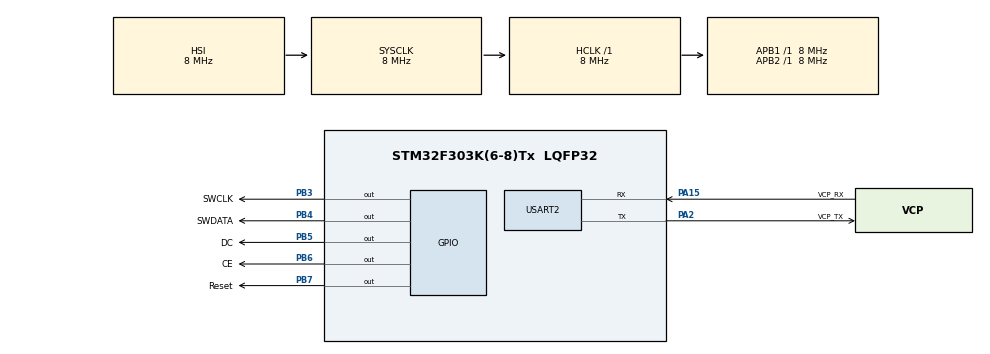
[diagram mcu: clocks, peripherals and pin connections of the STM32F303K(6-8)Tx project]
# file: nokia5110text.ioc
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Mcu.Family=STM32F3
Mcu.Name=STM32F303K(6-8)Tx
Mcu.Package=LQFP32
NVIC.PriorityGroup=NVIC_PRIORITYGROUP_4
PA13.GPIO_Label=SWDIO
PA13.Mode=Serial_Wire
PA13.Signal=SYS_JTMS-SWDIO
PA14.GPIO_Label=SWCLK
PA14.Mode=Serial_Wire
PA14.Signal=SYS_JTCK-SWCLK
PA15.GPIO_Label=VCP_RX
PA15.Mode=Asynchronous
PA15.Signal=USART2_RX
PA2.GPIO_Label=VCP_TX
PA2.Mode=Asynchronous
PA2.Signal=USART2_TX
PB3.GPIO_Label=SWCLK
PB3.Signal=GPIO_Output
PB4.GPIO_Label=SWDATA
PB4.Signal=GPIO_Output
PB5.GPIO_Label=DC
PB5.Signal=GPIO_Output
PB6.GPIO_Label=CE
PB6.Signal=GPIO_Output
PB7.GPIO_Label=Reset
PB7.Signal=GPIO_Output
PF0\ /\ OSC_IN.GPIO_Label=MCO
PF0\ /\ OSC_IN.Mode=HSE-External-Clock-Source
PF0\ /\ OSC_IN.Signal=RCC_OSC_IN
ProjectManager.HeapSize=0x200
ProjectManager.StackSize=0x400
ProjectManager.TargetToolchain=STM32CubeIDE
RCC.AHBFreq_Value=8000000
RCC.APB1Freq_Value=8000000
RCC.APB2Freq_Value=8000000
RCC.CortexFreq_Value=8000000
RCC.HSE_VALUE=8000000
RCC.HSI_VALUE=8000000
RCC.SYSCLKFreq_VALUE=8000000
USART2.VirtualMode-Asynchronous=VM_ASYNC
board=NUCLEO-F303K8

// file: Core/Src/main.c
/* USER CODE BEGIN Header */
/**
  ******************************************************************************
  * @file           : main.c
  * @brief          : Main program body
  ******************************************************************************
  * @attention
  *
  * <h2><center>&copy; Copyright (c) 2021 STMicroelectronics.
  * All rights reserved.</center></h2>
  *
  * This software component is licensed by ST under BSD 3-Clause license,
  * the "License"; You may not use this file except in compliance with the
  * License. You may obtain a copy of the License at:
  *                        opensource.org/licenses/BSD-3-Clause
  *
  ******************************************************************************
  */
/* USER CODE END Header */
#include "main.h"

/* USER CODE BEGIN Includes */
#include "NOKIA5110_TEXT.h"

/* USER CODE END Includes */

UART_HandleTypeDef huart2;

void SystemClock_Config(void);
static void MX_GPIO_Init(void);
static void MX_USART2_UART_Init(void);
/* USER CODE BEGIN PFP */
void NokiaSetup(void);
void TestPrint(void);
void TestGeneral(void); // General tests, default font , clear and fill , draw, custom char
void TestFont1to6(void); // For testing fonts 1-6  Comment in  defines at top of  NOKIA5110_TEXT.h if using non default
void TestFont7to9(void); // for testing fonts 7-9
void TestBitmap(void); // bitmap test
/* USER CODE END PFP */

/* USER CODE BEGIN 0 */
#define myinverse  false
#define mycontrast 0xB1 // default is 0xBF set in LCDinit, Try 0xB1 to 0xBF if your display is too dark
#define mybias 0x13 // LCD bias mode 1:48: Try 0x12 or 0x13 or 0x14

#define TEST_DELAY 2000

/* USER CODE END 0 */

int main(void)
{

  /* MCU Configuration--------------------------------------------------------*/

  /* Reset of all peripherals, Initializes the Flash interface and the Systick. */
  HAL_Init();

  /* Configure the system clock */
  SystemClock_Config();

  /* Initialize all configured peripherals */
  MX_GPIO_Init();
  MX_USART2_UART_Init();
  /* USER CODE BEGIN 2 */
  NokiaSetup();

  /* USER CODE END 2 */

  /* Infinite loop */
  /* USER CODE BEGIN WHILE */
  while (1)
  {
	  HAL_Delay(TEST_DELAY);

	  TestPrint();
	  TestGeneral();
	  TestFont1to6(); // Comment in to test , read notes in function header
      TestFont7to9(); //Comment in to test , read notes in function header
      TestBitmap(); //Comment in to test , read notes in function header

	  /* USER CODE END WHILE */

  }
}

void SystemClock_Config(void)
{
  RCC_OscInitTypeDef RCC_OscInitStruct = {0};
  RCC_ClkInitTypeDef RCC_ClkInitStruct = {0};

  /** Initializes the RCC Oscillators according to the specified parameters
  * in the RCC_OscInitTypeDef structure.
  */
  RCC_OscInitStruct.OscillatorType = RCC_OSCILLATORTYPE_HSI;
  RCC_OscInitStruct.HSIState = RCC_HSI_ON;
  RCC_OscInitStruct.HSICalibrationValue = RCC_HSICALIBRATION_DEFAULT;
  RCC_OscInitStruct.PLL.PLLState = RCC_PLL_NONE;
  if (HAL_RCC_OscConfig(&RCC_OscInitStruct) != HAL_OK)
  {
    Error_Handler();
  }
  /** Initializes the CPU, AHB and APB buses clocks
  */
  RCC_ClkInitStruct.ClockType = RCC_CLOCKTYPE_HCLK|RCC_CLOCKTYPE_SYSCLK
                              |RCC_CLOCKTYPE_PCLK1|RCC_CLOCKTYPE_PCLK2;
  RCC_ClkInitStruct.SYSCLKSource = RCC_SYSCLKSOURCE_HSI;
  RCC_ClkInitStruct.AHBCLKDivider = RCC_SYSCLK_DIV1;
  RCC_ClkInitStruct.APB1CLKDivider = RCC_HCLK_DIV1;
  RCC_ClkInitStruct.APB2CLKDivider = RCC_HCLK_DIV1;

  if (HAL_RCC_ClockConfig(&RCC_ClkInitStruct, FLASH_LATENCY_0) != HAL_OK)
  {
    Error_Handler();
  }
}

static void MX_USART2_UART_Init(void)
{

  huart2.Instance = USART2;
  huart2.Init.BaudRate = 38400;
  huart2.Init.WordLength = UART_WORDLENGTH_8B;
  huart2.Init.StopBits = UART_STOPBITS_1;
  huart2.Init.Parity = UART_PARITY_NONE;
  huart2.Init.Mode = UART_MODE_TX_RX;
  huart2.Init.HwFlowCtl = UART_HWCONTROL_NONE;
  huart2.Init.OverSampling = UART_OVERSAMPLING_16;
  huart2.Init.OneBitSampling = UART_ONE_BIT_SAMPLE_DISABLE;
  huart2.AdvancedInit.AdvFeatureInit = UART_ADVFEATURE_NO_INIT;
  if (HAL_UART_Init(&huart2) != HAL_OK)
  {
    Error_Handler();
  }

}

static void MX_GPIO_Init(void)
{
  GPIO_InitTypeDef GPIO_InitStruct = {0};

  /* GPIO Ports Clock Enable */
  __HAL_RCC_GPIOF_CLK_ENABLE();
  __HAL_RCC_GPIOA_CLK_ENABLE();
  __HAL_RCC_GPIOB_CLK_ENABLE();

  /*Configure GPIO pin Output Level */
  HAL_GPIO_WritePin(GPIOB, SWCLKB3_Pin|SWDATA_Pin|DC_Pin|CE_Pin
                          |Reset_Pin, GPIO_PIN_RESET);

  /*Configure GPIO pins : SWCLKB3_Pin SWDATA_Pin DC_Pin CE_Pin
                           Reset_Pin */
  GPIO_InitStruct.Pin = SWCLKB3_Pin|SWDATA_Pin|DC_Pin|CE_Pin
                          |Reset_Pin;
  GPIO_InitStruct.Mode = GPIO_MODE_OUTPUT_PP;
  GPIO_InitStruct.Pull = GPIO_NOPULL;
  GPIO_InitStruct.Speed = GPIO_SPEED_FREQ_LOW;
  HAL_GPIO_Init(GPIOB, &GPIO_InitStruct);

}

/* USER CODE BEGIN 4 */
void NokiaSetup(void)
{
	LCDInit(myinverse, mycontrast, mybias); // init the lCD
	LCDClear(0x00); // Clear screen
}

//****************************** Test Print function ****************************

void TestPrint(void)
{
	uint16_t myPosInt = 765;
	int16_t  myNegInt = -112;

	LCDgotoXY(0, 0);
    LCDPrintf("pos num %u",myPosInt );

	LCDgotoXY(0, 1);
    LCDPrintf("neg num %d",myNegInt);

    HAL_Delay(5000);
    LCDClear(0x00);
}

// **********************************  Text and  function tests *****************

void TestGeneral(void) {
    /* TESTS
     1. TEST 1a writing text to blocks
     2. TEST 1b clearing by  blocks
     3. TEST 1c sleep mode
     4. TEST 1d Draw some pixel
     5. TEST 1e Draw a horizontal line with SetPixel across screen at row 10
     6. TEST 1f Draw a vertical line in block 2 of one byte at column 3
     7. TEST 1g Fill Screen
     8. TEST 1h Fill block
     9. TEST 1i Custom Character
     */

    //Custom Characters for  TEST 1i Custom Character
    const unsigned char power[12] = {0xff, 0xe7, 0xc3, 0x99, 0xa5, 0xad, 0xad, 0xa5, 0x99, 0xc3, 0xe7, 0xff}; //power icon
    const unsigned char myspeed[12] = {0xff, 0xff, 0xf7, 0xb3, 0xd1, 0xc0, 0xe0, 0xf4, 0xf6, 0xfe, 0xff, 0xff}; //lighting symbol

    bool drawtext = true; //enable  TEST 1a
    bool clearline = true; //enable  TEST 1b
    bool sleepmodetest = true; // enable TEST 1c
    bool pixeltest = true; // enable TEST d e f

    //TEST 1a writing text to blocks
    if (drawtext == true) {
        HAL_Delay(TEST_DELAY);
        LCDgotoXY(0, 0); // (go to (X , Y) (0-84 columns, 0-5 blocks)
        LCDString("Block 0"); //print to block 0 (0-5 blocks or row bytes)
        HAL_Delay(TEST_DELAY);
        LCDgotoXY(2, 1);
        LCDString("Block 1"); //print to block 1 indented by two
        HAL_Delay(TEST_DELAY);
        LCDgotoXY(4, 2);
        LCDString("Block 2"); //print to block 2   indented by four
        HAL_Delay(TEST_DELAY);
        LCDgotoXY(6, 3);
        LCDString("Block 3"); //print to block 3  indented by six
        HAL_Delay(TEST_DELAY);
        LCDgotoXY(8, 4);
        LCDString("Block 4"); //print to block 4 indented by 8 col
        HAL_Delay(TEST_DELAY);
        LCDgotoXY(10, 5);
        LCDString("Block 5"); //print to block 5 indented by 10 col
        HAL_Delay(TEST_DELAY);
    }

    // TEST 1b clearing by  blocks
    if (clearline == true) {
        LCDClearBlock(0); //clear line/block 0
        HAL_Delay(TEST_DELAY);
        LCDClearBlock(5); //clear line/block 5
        HAL_Delay(TEST_DELAY);
    }

    //TEST 1c sleep mode
    if (sleepmodetest == true) {
        LCDClear(0x00);
        LCDgotoXY(0, 0);
        LCDString("Sleep 5s");
        HAL_Delay(1000);
        LCDenableSleep(); //go to sleep
        HAL_Delay(5000);
        LCDdisableSleep(); //wake up
        LCDgotoXY(0, 0);
        LCDString("Awake");
        HAL_Delay(TEST_DELAY);
    }

    // Test 1d Pixels
     if (pixeltest == true) {
        LCDClear(0x00);

        LCDgotoXY(0, 5); // (go to (X , Y) (0-84 columns, 0-5 blocks)
        LCDString("Draw Pixels");
        HAL_Delay(TEST_DELAY);

        for (uint8_t Pixels = 11; Pixels < 255; Pixels++) {
            LCDSetPixel(Pixels / 5, Pixels / 10);
            HAL_Delay(15);
        }

        // 1e Draw a horizontal line with SetPixel across screen at row 10
        LCDClear(0x00);
        LCDgotoXY(0, 0); // (go to (X , Y) (0-84 columns, 0-5 blocks)
        LCDString("Draw Lines"); //print to block 0 (0-5 blocks or row bytes)
        HAL_Delay(TEST_DELAY);

        for (uint8_t col = 3; col < 71; col++) {
            LCDSetPixel(col, 23);
            LCDSetPixel(col, 31);
        }
        HAL_Delay(TEST_DELAY);

        // 1f Draw a vertical line in block 2 of one byte at column 3
        LCDgotoXY(3, 3);
        LCDWrite(LCD_DATA, 0xFF);
        LCDgotoXY(70, 3);
        LCDWrite(LCD_DATA, 0xFF);
        HAL_Delay(TEST_DELAY);
    }
    // TEST 1g Fill whole with Screen with pattern
    LCDClear(0x00);
    LCDgotoXY(0, 0);
    LCDString("Fill Screen");
    HAL_Delay(TEST_DELAY);

    LCDClear(0xBA); //  pattern 0b10111010
    HAL_Delay(TEST_DELAY);

    // Test 1h fill block
    LCDClear(0X00);
    LCDgotoXY(0, 0);
    LCDString("Fill block");
    HAL_Delay(TEST_DELAY);
    LCDFillBlock(0xAB, 4); //  0b10101011
    HAL_Delay(TEST_DELAY);

    //Test 1i Custom characters
    LCDClear(0X00);
    LCDgotoXY(0, 0);
    LCDString("Custom char");
    LCDgotoXY(40, 2);
    LCDCustomChar(power, sizeof (power) / sizeof (unsigned char), LCDPadding_Both);
    LCDgotoXY(40, 4);
    LCDCustomChar(myspeed, sizeof (myspeed) / sizeof (unsigned char), LCDPadding_Both);
    HAL_Delay(5000);

    //whole screen clear again
    LCDClear(0x00);
    HAL_Delay(TEST_DELAY);
}

//****************************** TestFont1to6 ****************************
// fonts 1-6 tests,  NOTE fonts  must be  commented in header file

void TestFont1to6() {

    HAL_Delay(TEST_DELAY);
    LCDFont(LCDFont_Default); //font 1
    LCDgotoXY(0, 0); // (go to (X , Y) (0-84 columns, 0-5 blocks)
    LCDString("1234567890AB"); //print to block 0
    HAL_Delay(TEST_DELAY);
    LCDFont(LCDFont_Thick); // font 2
    LCDgotoXY(0, 1);
    LCDString("VOLTAGE 2"); //print to block 1
    HAL_Delay(TEST_DELAY);
    LCDFont(LCDFont_HomeSpun); //font 3
    LCDgotoXY(0, 2);
    LCDString("ABCDEFGH"); //print to block 2
    HAL_Delay(TEST_DELAY);
    LCDFont(LCDFont_Seven_Seg); //font 4
    LCDgotoXY(0, 3);
    LCDString("VOLTAGE 5.843"); //print to block 3
    HAL_Delay(TEST_DELAY);
    LCDFont(LCDFont_Wide); //font 5
    LCDgotoXY(0, 4);
    LCDString("VOLTAGE"); //print to block 4
    HAL_Delay(TEST_DELAY);
    LCDFont(LCDFont_Tiny); //font 6
    LCDgotoXY(0, 5); // (go to (X , Y) (0-84 columns, 0-5 blocks)
    LCDString("1234567890123456"); //print to block 5
    HAL_Delay(TEST_DELAY);
    LCDFont(LCDFont_Default);
    LCDClear(0x00);
}

//****************************** TestFont7to9 ****************************
// fonts 7-9 tests,  Note  fonts  must be  commented in header file

void TestFont7to9() {
    // ***** TEST 3a font 7 large 12 * 16 *********
    // :NO LOWER CASE LETTERS for  font 7
    LCDClear(0X00); //clear whole screen
    LCDFont(LCDFont_Large); //font 7
    LCDgotoXY(20, 1);
    LCDString("TIME");
    LCDgotoXY(15, 3); // this font takes two blocks
    LCDString("23:04");
    HAL_Delay(5000);

    // ***** TEST 3b font 8 huge 16 * 24 *********
    // NUMBERS  only + : . /
    LCDClear(0x00);
    LCDFont(LCDFont_Huge); // font 8 this font takes 3 blocks
    LCDgotoXY(0, 0);
    LCDString("10:39");
    LCDgotoXY(0, 3);
    LCDString("4.288");
    HAL_Delay(5000);

    // ********** TEST 3c font 9 MEGA font 16 * 32 *********
    //  NUMBERS  only + : . /
    LCDClear(0x00);
    LCDFont(LCDFont_Mega); // font 8 this font takes 4 blocks
    LCDgotoXY(0, 1);
    LCDString("14.23");
    HAL_Delay(5000);

}

//****************************** TestBitmap ****************************
// bitmap tests,  Note  fonts one  must be  commented in font header file

void TestBitmap() {
    // 'image1', 84x48px snake
    const unsigned char mybitmap[504] = {
        0x00, 0x00, 0x00, 0x00, 0x00, 0x00, 0x00, 0x00, 0x00, 0x80, 0xc0, 0xe0, 0xf0, 0xf8, 0xf8, 0x7c,
        0x7c, 0x20, 0x00, 0xe0, 0xe0, 0xf0, 0xf0, 0xf0, 0x80, 0x00, 0x00, 0xe0, 0xf8, 0xf8, 0xfc, 0x38,
        0x00, 0xe0, 0xf0, 0xf8, 0xf8, 0xf8, 0xf8, 0x80, 0x00, 0x10, 0x78, 0x7c, 0xfc, 0xfc, 0x00, 0x80,
        0xe0, 0xf0, 0xf8, 0xf8, 0xf0, 0xe4, 0x7c, 0x7e, 0xbe, 0x9e, 0x1c, 0x18, 0xf0, 0x30, 0x30, 0x90,
        0x90, 0x18, 0x98, 0xc8, 0xc8, 0xcc, 0x0c, 0xce, 0xce, 0xe6, 0xfe, 0xf0, 0x00, 0x00, 0x00, 0x00,
        0x00, 0x00, 0x00, 0x00, 0x00, 0x00, 0x00, 0x00, 0x00, 0x00, 0x00, 0x00, 0x7e, 0x7f, 0x7f, 0x73,
        0x31, 0x30, 0xb8, 0xf8, 0xf8, 0xf8, 0xf8, 0xa1, 0xd7, 0xff, 0xff, 0x07, 0x1f, 0x7e, 0x78, 0x7f,
        0x7f, 0x3f, 0x8f, 0xe0, 0xfc, 0xff, 0xff, 0x3e, 0x30, 0x1b, 0x7f, 0x7f, 0x7f, 0x6f, 0x0f, 0x77,
        0xf9, 0xff, 0xff, 0x3f, 0x3f, 0x7b, 0xe3, 0xe3, 0x0f, 0x3f, 0xfe, 0xfe, 0xef, 0x77, 0x78, 0x38,
        0x03, 0x07, 0x03, 0x07, 0xff, 0x00, 0x0f, 0xff, 0xff, 0x7f, 0x00, 0x7f, 0x7f, 0x3f, 0x30, 0xf0,
        0xe6, 0x00, 0x00, 0x00, 0x00, 0x00, 0x00, 0x00, 0x00, 0x00, 0x00, 0x00, 0x00, 0x00, 0x00, 0x00,
        0x04, 0x1c, 0x1c, 0x1e, 0x0f, 0x0f, 0x07, 0x07, 0x03, 0x01, 0x80, 0x80, 0x81, 0x41, 0x40, 0x80,
        0x60, 0xa0, 0x60, 0xa0, 0x60, 0xa0, 0xe1, 0x41, 0x61, 0x79, 0x34, 0x34, 0x08, 0x04, 0x24, 0x32,
        0x2b, 0x25, 0x3d, 0x1a, 0x44, 0x45, 0xc5, 0x44, 0x04, 0x08, 0xe0, 0xc0, 0x80, 0x80, 0x00, 0x01,
        0x00, 0x00, 0x00, 0x00, 0x00, 0x3e, 0x32, 0x23, 0x31, 0x30, 0x18, 0x18, 0x0c, 0x0c, 0x0e, 0x0e,
        0x07, 0x07, 0x07, 0x03, 0x03, 0x00, 0x00, 0x00, 0x00, 0x00, 0x00, 0x00, 0x00, 0x00, 0x00, 0x00,
        0x00, 0x00, 0x00, 0x00, 0x00, 0x00, 0x00, 0x00, 0x60, 0xd8, 0x6c, 0x06, 0x83, 0xb5, 0xea, 0x11,
        0x09, 0x84, 0x80, 0x86, 0x03, 0x02, 0x01, 0x02, 0x01, 0x01, 0x05, 0x00, 0x01, 0x01, 0x01, 0x78,
        0x99, 0x00, 0x00, 0x1c, 0x0e, 0x86, 0x62, 0x22, 0x12, 0x8f, 0x43, 0x23, 0x13, 0x0f, 0x8b, 0x45,
        0x27, 0x27, 0x27, 0x24, 0x24, 0x24, 0x24, 0x04, 0x80, 0x08, 0x10, 0x20, 0xe0, 0x30, 0xe8, 0xc8,
        0x90, 0x10, 0x20, 0xc0, 0x00, 0x00, 0x00, 0x00, 0x00, 0x00, 0x00, 0x00, 0x00, 0x00, 0x00, 0x00,
        0x00, 0x00, 0x00, 0x00, 0x00, 0x00, 0x00, 0x00, 0x00, 0x00, 0x00, 0x00, 0x00, 0x94, 0x9c, 0x29,
        0x24, 0x6c, 0x76, 0x67, 0x47, 0x00, 0x00, 0x92, 0x92, 0xd0, 0x9c, 0xd8, 0x70, 0x00, 0xe0, 0x10,
        0x08, 0x04, 0x02, 0xe1, 0x30, 0x18, 0xc4, 0xe6, 0xf1, 0xf8, 0xf0, 0xd0, 0x83, 0x00, 0x00, 0x0c,
        0x02, 0x01, 0x00, 0x1c, 0x36, 0x0a, 0x33, 0x83, 0x05, 0x25, 0x27, 0x07, 0x07, 0x24, 0x04, 0x84,
        0x83, 0x93, 0x67, 0xff, 0x7f, 0xfe, 0xf8, 0x00, 0x01, 0xff, 0x02, 0x00, 0x00, 0x00, 0x00, 0x00,
        0x00, 0x00, 0x00, 0x00, 0x00, 0x00, 0x00, 0x00, 0x00, 0x00, 0x00, 0x00, 0x00, 0x00, 0x00, 0x00,
        0x00, 0x00, 0x03, 0x07, 0x07, 0x18, 0x08, 0x00, 0x10, 0x00, 0x00, 0x00, 0x10, 0x11, 0x31, 0x10,
        0x30, 0x31, 0x20, 0x28, 0x08, 0x00, 0x11, 0x10, 0x00, 0x20, 0x20, 0x20, 0x20, 0x20, 0x20, 0x22,
        0x22, 0x20, 0x20, 0x22, 0x00, 0x10, 0x10, 0x10, 0x0d, 0x27, 0x30, 0x37, 0x24, 0x2d, 0x29, 0x29,
        0x29, 0x29, 0x20, 0x24, 0x35, 0x13, 0x1b, 0x19, 0x1a, 0x1a, 0x1b, 0x1a, 0x0a, 0x09, 0x04, 0x00,
        0x00, 0x00, 0x00, 0x00, 0x00, 0x00, 0x00, 0x00
    };

    // 'image2', 84x24px
    const unsigned char mybitmap2[252] = {
        0xff, 0xff, 0xff, 0xff, 0xff, 0xff, 0xff, 0xff, 0xff, 0xff, 0xff, 0xff, 0xff, 0xff, 0xff, 0xff,
        0x7f, 0x7f, 0x3f, 0x3f, 0x1f, 0x0f, 0x0f, 0x07, 0x87, 0xc3, 0xe3, 0xf9, 0xfd, 0xff, 0xff, 0xff,
        0xff, 0xff, 0xff, 0xff, 0xff, 0xff, 0xff, 0xff, 0xff, 0xff, 0xff, 0xff, 0xff, 0xff, 0xff, 0xff,
        0xff, 0xff, 0xff, 0xff, 0xff, 0xff, 0xff, 0xff, 0xff, 0xff, 0x7f, 0x7f, 0x3f, 0x3f, 0x1f, 0x0f,
        0x0f, 0x07, 0x87, 0xc3, 0xe3, 0xf9, 0xfd, 0xff, 0xff, 0xff, 0xff, 0xff, 0xff, 0xff, 0xff, 0xff,
        0xff, 0xff, 0xff, 0xff, 0xff, 0xff, 0xff, 0xff, 0xff, 0xff, 0xff, 0xff, 0xff, 0xff, 0xfb, 0xfb,
        0xf1, 0xf1, 0xf0, 0xf0, 0xe0, 0xe0, 0x60, 0x20, 0x00, 0x00, 0x04, 0x06, 0x07, 0x07, 0x0f, 0x0f,
        0x8f, 0x8f, 0xdf, 0xdf, 0xff, 0xff, 0xff, 0xff, 0xff, 0xff, 0xff, 0xff, 0xff, 0xff, 0xff, 0xff,
        0xff, 0xff, 0xff, 0xff, 0xff, 0xff, 0xff, 0xff, 0xfb, 0xfb, 0xf1, 0xf1, 0xf0, 0xf0, 0xe0, 0xe0,
        0x60, 0x20, 0x00, 0x00, 0x04, 0x06, 0x07, 0x07, 0x0f, 0x0f, 0x8f, 0x8f, 0xdf, 0xdf, 0xff, 0xff,
        0xff, 0xff, 0xff, 0xff, 0xff, 0xff, 0xff, 0xff, 0xff, 0xff, 0xff, 0xff, 0xff, 0xff, 0xff, 0xff,
        0xff, 0xff, 0xff, 0xff, 0xff, 0xbf, 0x9f, 0xc7, 0xc3, 0xe1, 0xe0, 0xf0, 0xf0, 0xf8, 0xfc, 0xfc,
        0xfe, 0xfe, 0xff, 0xff, 0xff, 0xff, 0xff, 0xff, 0xff, 0xff, 0xff, 0xff, 0xff, 0xff, 0xff, 0xff,
        0xff, 0xff, 0xff, 0xff, 0xff, 0xff, 0xff, 0xff, 0xff, 0xff, 0xff, 0xff, 0xff, 0xff, 0xff, 0xbf,
        0x9f, 0xc7, 0xc3, 0xe1, 0xe0, 0xf0, 0xf0, 0xf8, 0xfc, 0xfc, 0xfe, 0xfe, 0xff, 0xff, 0xff, 0xff,
        0xff, 0xff, 0xff, 0xff, 0xff, 0xff, 0xff, 0xff, 0xff, 0xff, 0xff, 0xff
    };
    LCDClear(0x00); // Clear whole screen
    LCDFont(LCDFont_Default); // Set the font
    LCDgotoXY(0, 0); // (go to (X , Y) (0-84 columns, 0-5 blocks) top left corner
    LCDString("BITMAP TEST"); //print
    HAL_Delay(2000);

    // Test half size bitmap  252 bytes
    LCDgotoXY(0, 0);
    LCDCustomChar(mybitmap2, sizeof (mybitmap2) / sizeof (unsigned char), 0x00);
    LCDgotoXY(0, 4);
    LCDString("Error : 1202");
    HAL_Delay(5000);
    LCDClear(0x00);

    //Test full size bitmap 504 bytes
    LCDCustomChar(mybitmap, sizeof (mybitmap) / sizeof (unsigned char), 0x00);
    HAL_Delay(5000);
    LCDClear(0x00);
}
//****************************************
/* USER CODE END 4 */

void Error_Handler(void)
{
}

/************************ (C) COPYRIGHT STMicroelectronics *****END OF FILE****/
